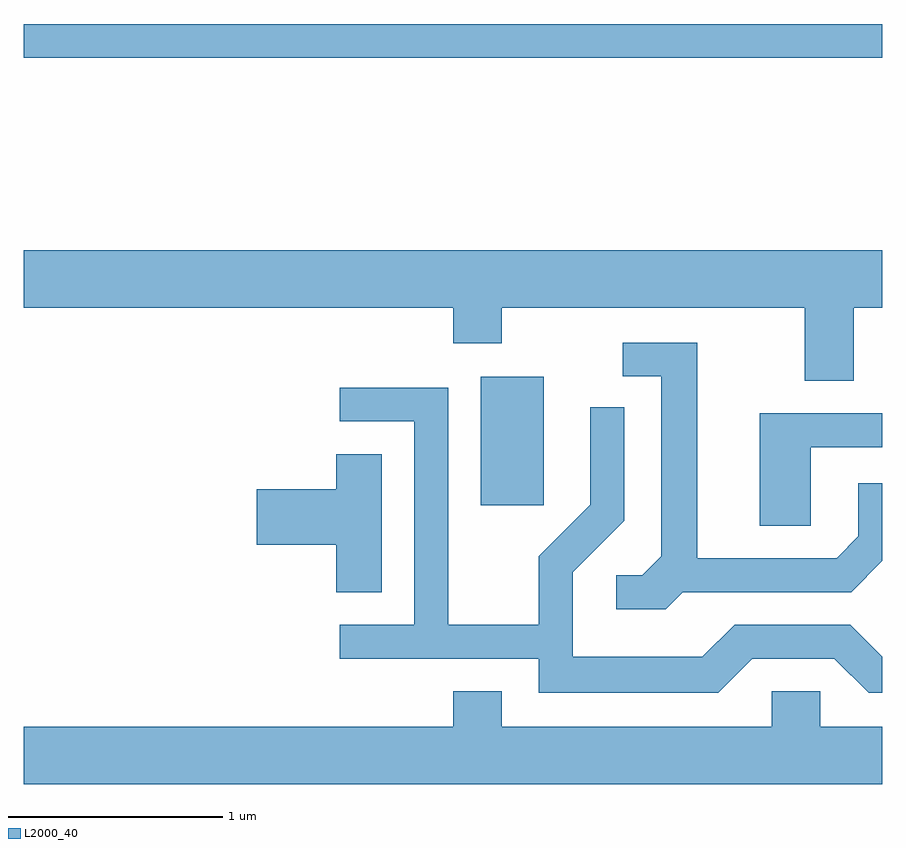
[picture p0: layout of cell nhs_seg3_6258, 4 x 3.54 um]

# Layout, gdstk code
import gdstk
lib = gdstk.Library(unit=1e-6, precision=1e-09)
def R(c, l, rs):  # rectangles x0, y0, x1, y1
    for r in rs: c.add(gdstk.rectangle(r[:2], r[2:], *l))
def P(c, l, *ps):  # polygons
    for p in ps: c.add(gdstk.Polygon(p, *l))
L2000_40 = (2000, 40)

nhs_seg3_6258 = lib.new_cell('nhs_seg3_6258')
R(nhs_seg3_6258, L2000_40, [(371.741,1129.536,372.034,1130.134), (369.611,1131.621,373.611,1131.779)])
P(nhs_seg3_6258, L2000_40, [(373.479,1130.456),(373.611,1130.456),(373.611,1130.724),(369.611,1130.724),(369.611,1130.456),(371.611,1130.456),(371.611,1130.291),(371.839,1130.291),(371.839,1130.456),(373.251,1130.456),(373.251,1130.116),(373.479,1130.116)],
  [(372.682,1129.131),(373.467,1129.131),(373.611,1129.276),(373.611,1129.638),(373.501,1129.638),(373.501,1129.392),(373.399,1129.289),(372.749,1129.289),(372.749,1130.294),(372.403,1130.294),(372.403,1130.136),(372.581,1130.136),(372.581,1129.297),(372.494,1129.209),(372.373,1129.209),(372.373,1129.051),(372.602,1129.051)],
  [(373.007,1128.821),(373.389,1128.821),(373.549,1128.661),(373.611,1128.661),(373.611,1128.83),(373.462,1128.979),(372.924,1128.979),(372.774,1128.829),(372.169,1128.829),(372.169,1129.224),(372.409,1129.464),(372.409,1129.993),(372.251,1129.993),(372.251,1129.537),(372.011,1129.297),(372.011,1128.979),(371.589,1128.979),(371.589,1130.084),(371.083,1130.084),(371.083,1129.926),(371.431,1129.926),(371.431,1128.979),(371.083,1128.979),(371.083,1128.821),(372.011,1128.821),(372.011,1128.661),(372.847,1128.661)],
  [(373.279,1129.806),(373.611,1129.806),(373.611,1129.964),(373.041,1129.964),(373.041,1129.441),(373.279,1129.441)],
  [(371.279,1129.774),(371.066,1129.774),(371.066,1129.609),(370.696,1129.609),(370.696,1129.351),(371.066,1129.351),(371.066,1129.131),(371.279,1129.131)],
  [(373.611,1128.504),(373.324,1128.504),(373.324,1128.669),(373.096,1128.669),(373.096,1128.504),(371.839,1128.504),(371.839,1128.669),(371.611,1128.669),(371.611,1128.504),(369.611,1128.504),(369.611,1128.236),(373.611,1128.236)])

lib.write_gds('nhs_seg3_6258.gds')
